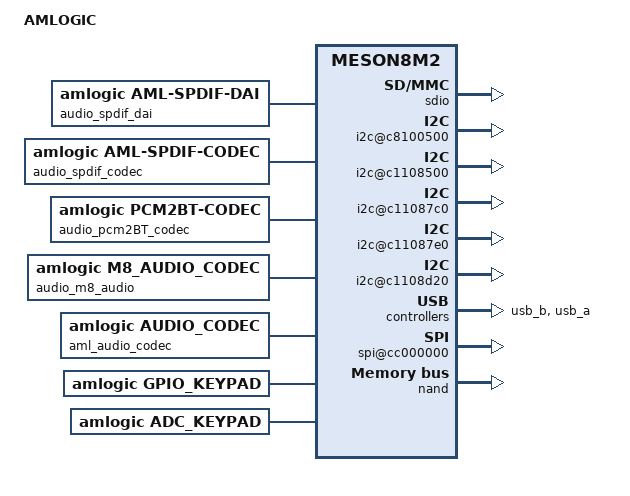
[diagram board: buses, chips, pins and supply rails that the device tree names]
/dts-v1/;
/{
	compatible = "AMLOGIC,8726_M8M2";
	model = "AMLOGIC";
	interrupt-parent = <&gic>;
	#address-cells = <1>;
	#size-cells = <1>;
	
    cpus {
        #address-cells = <1>;
        #size-cells = <0>;
        cpu@0 {
        	device_type = "cpu";
        	compatible = "arm,cortex-a9";
        	reg = <0x200>;
        };
        cpu@1 {
        	device_type = "cpu";
        	compatible = "arm,cortex-a9";
        	reg = <0x1>;
        };
        cpu@2 {
        	device_type = "cpu";
        	compatible = "arm,cortex-a9";
        	reg = <0x2>;
        };
        cpu@3 {
        	device_type = "cpu";
        	compatible = "arm,cortex-a9";
        	reg = <0x3>;
        };
    };

    cache-controller {
          compatible = "arm,meson-pl310-cache";
          reg = <0xc4200000 0x1000>;
          arm,data-latency = <3 3 3>;
          arm,tag-latency = <2 2 2>;
          arm,filter-ranges = <0x100000 0xc0000000>;
          cache-unified;
          cache-level = <2>;
          aux-instruction_prefetch;
          aux-data_prefetch;
          aux-ns_lockdown;
          aux-force_no_write_alloc;
          aux-cache_replace_policy_round_robin;
          aux-early_write_response;
          aux-full_line_of_zero;
          aux-ns_int_ctrl;
          aux-share_override;
          prefetch-double_line_fill;
          prefetch-prefetch_drop;
          prefetch-prefetch_offset = <7>;
    };

	memory{
		device_type = "memory";
		aml_reserved_start = <0x06000000>; /**reserved memory start */
		aml_reserved_end = <0x05000000>;/**reserved memory end : dtb start for uboot*/
		phys_offset = <0x00200000>;
		linux,total-memory = <0x7fe00000>;

        #address-cells = <1>;
        #size-cells = <1>;

        cma_0:region@0 {
           region_name = "cma_0";
           reg = <0 0x02a00000>;
           linux,contiguous-region;
        };
	};
	gic:interrupt-controller{
        compatible = "arm,cortex-a9-gic";
        reg = <0xc4301000 0x1000
               0xc4300100 0x0100>;
        interrupt-controller;
        #interrupt-cells = <3>;
        #address-cells = <0>;
    };
    
    vpu{
        compatible = "amlogic,vpu";
        dev_name = "vpu";	
        status = "ok";
        clk_level = <7>;
        /**    0: 106.25M    1: 127.50M    2: 159.375M
               3: 212.50M    4: 255.00M    5: 283.33M
               6: 318.75M    7: 425.00M    */
	};
	
	mesonfb{
		compatible = "amlogic,mesonfb";
		dev_name = "mesonfb";
		status = "okay";
	   	reserve-memory = <0x01000000  0x00100000>;
	   	reserve-iomap = "true";
        vmode = <3>; /**0:VMODE_720P 1:VMODE_LCD  2:VMODE_LVDS_1080P 3:VMODE_1080P*/
 		display_size_default = <1920 1080 1920 2160 32>;
	};

    deinterlace{
		compatible = "amlogic,deinterlace";
		dev_name = "deinterlace";
		status = "ok";
		reserve-memory = <0x02300000>; 	 

	};

	mesonstream{
		compatible = "amlogic,mesonstream";
		dev_name = "mesonstream.0";
		status = "okay";
		reserve-memory = <0x02000000>;
		reserve-iomap = "true";
	};

        vdec{
                compatible = "amlogic,vdec";
                dev_name = "vdec.0";
                status = "okay";
                reserve-memory = <0x10000000>;
                reserve-iomap = "true";
        };

    ppmgr{
		compatible = "amlogic,ppmgr";
		dev_name = "ppmgr";
		status = "okay";
		reserve-memory = <0x03000000>;
	};

    amvenc_avc{
		compatible = "amlogic,amvenc_avc";
		dev_name = "amvenc_avc.0";
		status = "okay";

        linux,contiguous-region = <&cma_0>;
	};

//    amvdec_656in{
//		compatible = "amlogic,amvdec_656in";
//		dev_name = "amvdec_656in";
//		status = "ok";
//		reg = <0x1a600000 0x00100000>;
//	};
//	
    vdin0{
        compatible = "amlogic,vdin";
        dev_name = "vdin0";
        status = "ok";
	 reserve-memory = <0x04000000>;
        irq = <115>;
        vdin_id = <0>;
	};
	
    vdin1{
        compatible = "amlogic,vdin";
        dev_name = "vdin1";
        status = "ok";
	 reserve-memory = <0x04000000>;
        irq = <117>;
        vdin_id = <1>;
	};

    amlvideo2{
		compatible = "amlogic,amlvideo2";
		dev_name = "amlvideo2.0";
		status = "okay";
		reserve-memory = <0x01800000>;
		reserve-iomap = "true";
	};

    vm{
		compatible = "amlogic,vm";
		dev_name = "vm.0";
		status = "okay";
        linux,contiguous-region = <&cma_0>;
	};

    ion_dev{
        compatible = "amlogic,ion_dev";
        dev_name = "ion_dev";
        status = "ok";
        share-memory-name = "ppmgr0";
        share-memory-offset = <0>;
        share-memory-size = <0x03000000>;
    };
	mesonvout{
		compatible = "amlogic,mesonvout";
		dev_name = "mesonvout";
		status = "okay";
	};

    rtc{
		compatible = "amlogic,aml_rtc";
		status = "okay";
	};

	uart_ao{
		compatible = "amlogic,aml_uart";
		port_name = "uart_ao";
		status = "okay";
		dev_name = "uart_ao";
		pinctrl-names = "default";
		pinctrl-0 = <&ao_uart_pins>;
	};
	
	uart_0{
		compatible = "amlogic,aml_uart";
		port_name = "uart_a";
		status = "okay";
		dev_name = "uart_0";
//    	pinctrl-names = "default";
//    	pinctrl-0 = <&a_uart_pins>;
	};
	
	uart_1{
		compatible = "amlogic,aml_uart";
		port_name = "uart_b";
		status = "disabled";
		dev_name = "uart_1";
	};
	
	uart_2{
		compatible = "amlogic,aml_uart";
		port_name = "uart_c";
		status = "disabled";
		dev_name = "uart_2";
	};
	
	uart_3{
		compatible = "amlogic,aml_uart";
		port_name = "uart_d";
		status = "ok";
		dev_name = "uart_3";
	};

    sdio{
        compatible = "amlogic,aml_sdio";
        dev_name = "aml_sdio.0";
        status = "okay";
        reg = <0xc1108c20 0x20>;
        pinctrl-names = "sd_clk_cmd_pins", "sd_all_pins", "emmc_clk_cmd_pins", "emmc_all_pins", "sdio_clk_cmd_pins", "sdio_all_pins","sd_1bit_pins"; // "jtag_pin", "uartao_default";
        pinctrl-0 = <&sd_clk_cmd_pins>;
        pinctrl-1 = <&sd_all_pins>;
        pinctrl-2 = <&emmc_clk_cmd_pins>;
        pinctrl-3 = <&emmc_all_pins>;
        pinctrl-4 = <&sdio_clk_cmd_pins>;
        pinctrl-5 = <&sdio_all_pins>;
        pinctrl-6 = <&sd_1bit_pins>;

        sd{
            status = "okay";
            port = <1>;          /**0:sdio_a, 1:sdio_b, 2:sdio_c, 3:sdhc_a, 4:sdhc_b, 5:sdhc_c */
            pinname = "sd";
            ocr_avail = <0x200000>;          /**VDD voltage 3.3 ~ 3.4 */
            caps = "MMC_CAP_4_BIT_DATA","MMC_CAP_MMC_HIGHSPEED","MMC_CAP_SD_HIGHSPEED";
            f_min = <300000>;
            f_max = <50000000>;
            f_max_w = <50000000>;
            max_req_size = <0x20000>;          /**128KB*/
            gpio_dat3 = "CARD_4";
            jtag_pin = "CARD_0";
            gpio_cd = "CARD_6";
            gpio_ro = "GPIOZ_0";
            irq_in = <3>;
            irq_out = <5>;
            card_type = <5>; /* 0:unknown, 1:mmc card(include eMMC), 2:sd card(include tSD), 3:sdio device(ie:sdio-wifi), 4:SD combo (IO+mem) card, 5:NON sdio device(means sd/mmc card), other:reserved */
        };

        emmc{
            status = "ok";
            port = <2>;          /**0:sdio_a, 1:sdio_b, 2:sdio_c, 3:sdhc_a, 4:sdhc_b, 5:sdhc_c */
            pinname = "emmc";
            ocr_avail = <0x200000>;          /**VDD voltage 3.3 ~ 3.4 */
            caps = "MMC_CAP_4_BIT_DATA","MMC_CAP_MMC_HIGHSPEED","MMC_CAP_SD_HIGHSPEED", "MMC_CAP_NONREMOVABLE"; // MMC_CAP_NEEDS_POLL -- for detect, MMC_CAP_NONREMOVABLE -- for eMMC/TSD
            f_min = <300000>;
            f_max = <50000000>;
            f_max_w = <50000000>;
            max_req_size = <0x20000>;          /**128KB*/
            gpio_dat3 = "BOOT_3";
            card_type = <1>; /* 0:unknown, 1:mmc card(include eMMC), 2:sd card(include tSD), 3:sdio device(ie:sdio-wifi), 4:SD combo (IO+mem) card, 5:NON sdio device(means sd/mmc card), other:reserved */
        };
    };

	i2c@c8100500{ /*I2C-AO*/
		compatible = "amlogic,aml_i2c";
		dev_name = "i2c-AO";
		status = "ok";
		reg = <0xc8100500 0x1d>;
		#address-cells = <1>;
		#size-cells = <0>;
		device_id = <0>;
		pinctrl-names="default";
		pinctrl-0=<&ao_i2c_master>;
		use_pio = <0>;
		master_i2c_speed = <100000>;
	};

    i2c@c1108500{ /*I2C-A*/
		compatible = "amlogic,aml_i2c";
		dev_name = "i2c-A";
		status = "ok";
		reg = <0xc1108500 0x20>;
		device_id = <1>;
		pinctrl-names="default";
		pinctrl-0=<&a_i2c_master>;
		#address-cells = <1>;
		#size-cells = <0>;
		use_pio = <0>;
		master_i2c_speed = <300000>;
	};
	
	i2c@c11087c0{ /*I2C-B*/
		compatible = "amlogic,aml_i2c";
		dev_name = "i2c-B";
		status = "ok";
		reg = <0xc11087c0 0x20>;
		device_id = <2>;
		pinctrl-names="default";
		pinctrl-0=<&b_i2c_master>;
		#address-cells = <1>;
		#size-cells = <0>;
		use_pio = <0>;
		master_i2c_speed = <300000>;
 	};

    i2c@c11087e0{ /*I2C-C*/
		compatible = "amlogic,aml_i2c";
		dev_name = "i2c-C";
		status = "ok";
		reg = <0xc11087e0 0x20>;
		device_id = <3>;
		pinctrl-names="default";
//		pinctrl-0=<&c_i2c_master>;
		#address-cells = <1>;
		#size-cells = <0>;
		use_pio = <0>;
		master_i2c_speed = <300000>;
	};

	i2c@c1108d20{ /*I2C-D*/
		compatible = "amlogic,aml_i2c";
		dev_name = "i2c-D";
		status = "ok";
		reg = <0xc1108d20 0x20>;
		device_id = <4>;
		pinctrl-names="default";
		pinctrl-0=<&d_i2c_master>;
		#address-cells = <1>;
		#size-cells = <0>;
		use_pio = <0>;
		master_i2c_speed = <300000>;
	};

    dvfs {
        compatible = "amlogic, amlogic-dvfs";                   /** fixed for driver, don't change       */
        #address-cells = <1>;
        #size-cells = <0>;
        status = "ok";

        vcck_dvfs {
            dvfs_id     = <1>;                                  /** must be value of (1 << n)            */
            table_count = <17>;                                 /** must be correct count for dvfs_table */
            change-frequent-only;
            dvfs_table  = <
            /* NOTE: frequent in this table must be ascending order */
            /* frequent(Khz)    min_uV      max_uV                  */
                  24000         825000      825000
                  96000         825000      825000
                 192000         825000      825000
                 312000         825000      825000
                 408000         825000      825000
                 504000         825000      825000
                 600000         850000      850000
                 720000         850000      850000
                 816000         875000      875000
                 912000         900000      900000
                1008000         925000      925000
                1104000         950000      950000
                1200000         975000      975000
                1320000        1000000     1000000
                1416000        1025000     1025000
                1512000        1050000     1050000
                1608000        1100000     1100000
            >;
        };
    };

    arm_pmu {
        compatible = "arm,cortex-a9-pmu";
        status = "ok";
        interrupts = <0     137     0x04
                      0     138     0x04
                      0     153     0x04
                      0     154     0x04>;
    };

    battery_parameter:battery_parameter{
        status = "okay";
        pmu_twi_id = <2>;                   /** PMU i2c bus                          */
        pmu_irq_id = <0>;                   /** INT_WATCHDOG                         */
        pmu_twi_addr = <0x32>;              /** PMU i2c addr                         */
        pmu_battery_rdc = <94>;             /** battery internal resistor            */
        pmu_battery_cap = <9250>;           /** battery capacity                     */
        pmu_battery_technology = <4>;       /** POWER_SUPPLY_TECHNOLOGY_LiFe         */
        pmu_battery_name = "PTI PL336078";  /** battery name                         */
        pmu_init_chgvol = <4200000>;        /** target charge voltage                */
        pmu_init_chgend_rate = <10>;        /** set initial charing end current rate */
        pmu_init_chg_enabled = <1>;         /** set initial charing enabled          */
        pmu_init_adc_freq = <25>;           /** set initial adc frequency            */
        pmu_init_adc_freqc = <100>;         /** set initial coulomb adc coufrequency */
        pmu_init_chg_pretime = <80>;        /** set initial pre-charging time        */
        pmu_init_chg_csttime = <300>;       /** set initial rapid-charging time      */
        pmu_init_chgcur = <300000>;         /** set initial charging current limite  */
        pmu_suspend_chgcur = <1300000>;     /** set suspend charging current limite  */
        pmu_resume_chgcur = <300000>;       /** set resume charging current limite   */
        pmu_shutdown_chgcur = <1300000>;    /** set shutdown charging current limite */
        pmu_usbcur_limit = <1>;             /** enable usb current limit?            */
        pmu_usbcur = <500>;                 /** usb limit current value if enabled   */
        pmu_usbvol_limit = <1>;             /** enable usb vbus voltage limit        */
        pmu_usbvol = <4400>;                /** voltage limit value if enabled       */
        pmu_pwroff_vol = <3200>;            /** hardware force power off voltage     */
        pmu_pwron_vol = <2900>;             /** power on when battery voltage above  */
        pmu_pekoff_time = <6000>;           /** long press to power off system       */
        pmu_pekoff_en  = <1>;               /** enable long press to PWR OFF system  */
        pmu_peklong_time = <1500>;          /** threshold to detect long press       */
        pmu_pwrok_time   = <64>;            /** delay to detect pwr ok signal        */
        pmu_pwrnoe_time = <2000>;           /**                                      */
        pmu_intotp_en = <1>;                /** over temperature protection enable   */
        pmu_pekon_time = <128>;             /** powerkey hold time for power on      */
        pmu_charge_efficiency = <99>;       /** efficient of charging                */
        pmu_bat_curve = <
         /* ocv, charge, discharge */
            3132      0       0
            3273      0       0
            3414      0       0
            3555      0       0  
            3625      1       3  
            3660      2       7  
            3696      7      14 
            3731     12      22 
            3766     18      37 
            3801     37      49 
            3836     51      57
            3872     57      63
            3942     69      73
            4012     80      82
            4083     89      90
            4153    100     100>;
	};

    pmu {
        compatible = "amlogic, aml_pmu_prober";                 /* fixed for pmu driver, don't change   */
        #address-cells = <1>;
        #size-cells = <0>;
        axp202 { /* PMU for AXP */
            compatible = "axp_mfd";                             /* for driver probe, must have          */
            sub_type = "axp20_mfd";                             /** sub type of pmu family, must have    */
            i2c_bus = "i2c_bus_ao";                             /** attached i2c bus, must have          */
            reg = <0x34>;                                       /** device i2c address, must have        */
            soft_limit_to99 = <0>;                              /** optional                             */
            ddr_voltage   = <1500000>;                          /** default voltage for DDR, optional    */
            vddao_voltage = <1200000>;                          /** default voltage for AO, optional     */
            board_battery = <&battery_parameter>;               /** battery parameter used, must have    */
            status = "disable";                                 /** status of pmu, only one should be OK */
        };
        aml1212{                                                /* PMU for AML1212, see comment above   */
            compatible = "aml_pmu";                             /* for driver probe, must have          */
            sub_type = "aml1212";                               /** sub type of pmu family, must have    */
            i2c_bus = "i2c_bus_ao";                             /** attached i2c bus, must have          */
            reg = <0x35>;                                       /** device i2c address, must have        */
            soft_limit_to99 = <0>;                              /** optional                             */
            ddr_voltage   = <1500000>;                          /** default voltage for DDR, optional    */
            vddao_voltage = <1200000>;                          /** default voltage for AO, optional     */
            board_battery = <&battery_parameter>;               /** battery parameter used, must have    */
            status = "disable";                                 /** status of pmu, only one should be OK */
        };
        rn5t618{                                                /* PMU for RN5T618, see comment above   */
            compatible = "ricoh_pmu";                           /* for driver probe, must have          */
            sub_type = "rn5t618";                               /** sub type of pmu family, must have    */
            i2c_bus = "i2c_bus_ao";                             /** attached i2c bus, must have          */
            reg = <0x32>;                                       /** device i2c address, must have        */
            soft_limit_to99 = <0>;                              /** optional                             */
            ddr_voltage   = <1500000>;                          /** default voltage for DDR, optional    */
            vddao_voltage = <1200000>;                          /** default voltage for AO, optional     */
            board_battery = <&battery_parameter>;               /** battery parameter used, must have    */
            vbus_dcin_short_connect = <1>;
            status = "disable";                                 /** status of pmu, only one should be OK */
        };
    };

    usb_con {
		lm-compatible = "logicmodule-bus";

		usb_b{
			lm-compatible = "amlogic,usb";
			lm-periph-id = <1>; /** lm name */
			clock-src = "usb1"; /** clock src */
			port-id = <1>; /** ref to mach/usb.h */
			port-type = <1>;	/** 0: otg, 1: host, 2: slave */
			port-speed = <0>; /** 0: default, 1: high, 2: full */
			port-config = <0>; /** 0: default */
			port-dma = <0>; /** 0: default, 1: single, 2: incr, 3: incr4, 4: incr8, 5: incr16, 6: disable*/
			port-id-mode = <1>; /** 0: hardware, 1: sw_host, 2: sw_slave*/
			status = "okay";
		};
		
		usb_a{
			lm-compatible = "amlogic,usb";
			lm-periph-id = <0>; /** lm name */
			clock-src = "usb0"; /** clock src */
			port-id = <0>;  /** ref to mach/usb.h */
			port-type = <0>;	/** 0: otg, 1: host, 2: slave */
			port-speed = <0>; /** 0: default, high, 1: full */
			port-config = <0>; /** 0: default */
			port-dma = <0>; /** 0: default, 1: single, 2: incr, 3: incr4, 4: incr8, 5: incr16, 6: disable*/
			port-id-mode = <0>; /** 0: hardware, 1: sw_host, 2: sw_slave*/
			gpio-vbus-power = "GPIOZ_1";
			gpio-work-mask	= <1>; /**0: work on pulldown,1:work on pullup*/
			status = "okay";
		};
	};




    audio_platform{
        compatible = "amlogic,aml-i2s";
        dev_name = "aml-i2s.0";
        status = "okay";
    };

    audio_dai{
        compatible = "amlogic,aml-i2s-dai";
        dev_name = "aml-i2s-dai.0";
        status = "okay";
    };
    audio_spdif_dai{
        compatible = "amlogic,aml-spdif-dai";
        dev_name = "aml-spdif-dai.0";
        status = "okay";
    };

    audio_spdif_codec{
        compatible = "amlogic,aml-spdif-codec";
        dev_name = "spdif-dit.0";
        status = "okay";
    };

    audio_pcm2BT_codec{
        compatible = "amlogic,pcm2BT-codec";
        dev_name = "pcm2bt.0";
        status = "okay";
    };

    audio_pcm_dai{
        compatible = "amlogic,aml-pcm-dai";
        dev_name = "aml-pcm-dai.0";
        status = "okay";
    };

    audio_pcm{
        compatible = "amlogic,aml-pcm";
        dev_name = "aml-pcm.0";
        status = "okay";
    };

    audio_m8_audio{
        compatible = "amlogic,m8_audio_codec";
        dev_name = "aml_m8_codec.0";
        status = "okay";
    };

    aml_audio_codec{
        compatible = "amlogic,audio_codec";
        rt5616:rt5616{
            codec_name = "rt5616";
            i2c_addr = <0x1B>;
            i2c_bus = "i2c_bus_d";
            id_reg = <0x00>;
            id_val = <0x21>;
            capless = <0>;
            status = "okay";
        };
        rt5631:rt5631{
            codec_name = "rt5631";
            i2c_addr = <0x1A>;
            i2c_bus = "i2c_bus_b";
            id_reg = <0x00>;
            id_val = <0x01>;
            capless = <0>;
            status = "disable";      
        };  
        wm8960:wm8960{
            codec_name = "wm8960";
            i2c_addr = <0x1A>;
            i2c_bus = "i2c_bus_b";
            capless = <1>;
	    status = "disable";
        };
    };

    aml_m8_sound_card{
        compatible = "sound_card, aml_snd_m8";
        aml,sound_card = "AML-M8AUDIO";
        aml,codec_dai = "AML-M8","rt5616-aif1","rt5631-hifi","wm8960-hifi";
        //aml,codec_name = "aml_m8_codec.0","rt5616.4-001b";
        //aml,audio-codec = <&rt5616>;
        aml,audio-routing-rt5616 = 
            "Ext Spk","LOUTL",
            "Ext Spk","LOUTR",
            "HP","HPOL",
            "HP","HPOR",
            "micbias1","MAIN MIC",
            "IN2P","micbias1";
        aml,audio-routing-amlm8 = 
            "Ext Spk","LINEOUTL",
            "Ext Spk","LINEOUTR",
            "HP","HP_L",
            "HP","HP_R",
            "MICBIAS","MAIN MIC",
            "LINPUT1","MICBIAS";
        mute_gpio = "GPIO_BSD_EN";
        //mute_inv;
        hp_paraments = <800 300 0 5 1>;
        pinctrl-names = "aml_snd_m8";
        pinctrl-0 = <&audio_pins>;
        status = "okay";
        
    };

	aml_cams{
		compatible = "amlogic,cams_prober";
		status = "disabled";
		pinctrl-names = "gpio","csi";
		pinctrl-0 = <&aml_cam_gpio_pins> ;
		pinctrl-1 = <&aml_cam_csi_pins> ;

		cam_0{
			cam_name = "ar0543";
			front_back = <0>;
			i2c_bus = "i2c_bus_d";
			gpio_pwdn = "GPIOH_6";
			gpio_rst = "GPIOH_4";
			mirror_flip = <0>;
			vertical_flip = <0>;
			config_path = "/system/etc/camera_isp_cfg/ar0543_skt";
			mclk = <12000>;
			bt_path = "csi";
			interface = "mipi";
			clk_channel = "a";
			status = "okay";
		};

		cam_1{
			cam_name = "ov5647";
			front_back = <0>;
			i2c_bus = "i2c_bus_d";
			gpio_pwdn = "GPIOH_5";
			gpio_rst = "GPIOH_4";
			mirror_flip = <0>;
			vertical_flip = <0>;	
			config_path = "/system/etc/camera_isp_cfg/ov5647_cw0767";
			bt_path = "csi";
			interface = "mipi";
			clk_channel = "b";
			status = "okay";
		};
		
		cam_2{
			cam_name = "ar0833";
			front_back = <0>;
			i2c_bus = "i2c_bus_d";
			gpio_pwdn = "GPIOH_6";
			gpio_rst = "GPIOH_4";
			mirror_flip = <0>;
			vertical_flip = <0>;
			config_path = "/system/etc/camera_isp_cfg/ar0833_skt";
			mclk = <12000>;
			bt_path = "csi";
			interface = "mipi";
			clk_channel = "a";
			status = "okay";
		};
	};	

    gpio_keypad{
		compatible = "amlogic,gpio_keypad";
		status = "okay";
		scan_period = <20>;
		key_num = <1>;
        key_name = "power";
		key_code = <116>;
		key_pin = "GPIOAO_3";
        irq_keyup = <6>;
        irq_keydown = <7>;
	};
	saradc{
		compatible = "amlogic,saradc";
		status = "okay";
	};

    adc_keypad{
		compatible = "amlogic,adc_keypad";
		status = "okay";
		key_name = "menu", "vol-","vol+", "esc", "home";
		key_num = <5>;
		key_code = <139 114 115 1 102>;
		key_chan = <0 0 0 0 0>;
		key_val = <0 143 271 393 468>; //voltage=0/252/478/692/824mV, val=voltage/1800mV*1023
		key_tolerance = <40 40 40 40 40>;
	};

    meson-remote{
		compatible = "amlogic,aml_remote";
		dev_name = "meson-remote";
		status = "ok";
		ao_baseaddr = <0xf3100480>;
		pinctrl-names="default";
		pinctrl-0=<&remote_pins>;
	};

    spi@cc000000{
		compatible = "amlogic,apollo_spi_nor";
		status = "ok";
		reg = <0xcc000000 0x04000000>;
		pinctrl-names = "default";
		pinctrl-0 = <&aml_spi_nor_pins>;

		nr-parts = <2>;
		nr-part-0 = <&bootloader>;
		nr-part-1 = <&ubootenv>;

		bootloader:bootloader{
			name = "bootloader";
			offset = <0>;
			size = <0x60000>;
		};

		ubootenv:ubootenv{
			name = "ubootenv";
		      offset = <0x100000>;
		      size = <0x10000>;
		};
	};
	
	nand{
		compatible = "amlogic,aml_nand";
		dev_name = "nand";
		status = "ok";
		reg = <0xd0048600 0x24>;
		pinctrl-names = "nand_rb_mod","nand_norb_mod";
		pinctrl-0 = <&nand_input_state &conf_nand_state &conf_nand_state1 &nand_base>;
		pinctrl-1 = <&nand_input_state &conf_nand_state &conf_nand_state1 &nand_base>;
		device_id = <0>;
		plat-names = "nandnormal";
		plat-num = <1>;
		plat-part-0 = <&normal>;

		normal: normal{
			enable_pad ="ce0","ce1","ce2","ce3";
			busy_pad = "rb0";
		};
	};

    efuse{
		compatible = "amlogic,efuse";
		dev_name = "efuse";
		status = "okay";
		plat-pos = <0 454>;
		plat-count = <58>;
		usid-min = <8>; /*reserved*/
		usid-max = <31>; /*reserved*/
	};
	
	thermal{
		compatible = "amlogic-thermal";
		#thermal-cells=<7>;
		dev_name = "aml_thermal";
        trip_point=<70 1608001 1608001 511 511 3 5 
                    80 1200001 1200001 435 435 2 4
                    90  800001 800001  328 328 2 3
                    260 0xffffffff 0xffffffff 0xffffffff 0xffffffff 0xffffffff 0xffffffff>;
		cpu_cali_a=<0>;
		idle_interval=<1000>;
        use_virtual_thermal;
        freq_sample_period=<30>;
        report_time=<1 10 30 60>;         /* based on freq_sample_period */
        cpu_virtual=<
             500000  40  40  40  40
             600000  45  55  60  65
             800000  50  60  65  70
            1000000  55  65  70  75
            1200000  60  70  75  80
            1400000  65  75  80  85
        >;
        gpu_virtual=<
            183      40  40  40  40
            251      40  45  50  55
            319      50  60  65  70
            426      55  65  70  75
            511      60  70  75  80
        >;
	};
	
    securitykey{
		compatible = "amlogic,aml_keys";
		status = "ok";
	};

    	unifykey{
		compatible = "amlogic,unifykey";
		status = "ok";

		/*efuse-version = <0>;*/ /*m6 efuse version 2,m3 efuse version 1, not config efuse version in default*/
		unifykey-num = <3>;
		unifykey-index-0 = <&keysn_0>;
		unifykey-index-1 = <&keysn_1>;
		unifykey-index-2 = <&keysn_2>;


		keysn_0: key_0{
			key-name = "key0";
			key-device = "nandkey";
			key-dataformat = "hexdata";
			key-permit = "read","write","del";
		};
		
		keysn_1:key_1{
			key-name = "key1";
			key-device = "nandkey";
			key-dataformat = "hexdata";
			key-permit = "read","write","del";
		};
		
		keysn_2:key_2{
			key-name = "key2";
			key-device = "nandkey";
			key-dataformat = "hexdata";
			key-permit = "read","write","del";
		};
	};

    amhdmitx{
		compatible = "amlogic,amhdmitx";
		dev_name = "amhdmitx";
		status = "ok";
        vend-data = <&vend_data>;
        pwr-ctrl = <&pwr_ctrl>;
        
        vend_data: vend_data{
            vendor_name = "Amlogic";           /* Max Chars: 8     */
            vendor_id = <0x000000>;                 /* Refer to http://standards.ieee.org/develop/regauth/oui/oui.txt   */
            product_desc = "M8 MBox SKTv1";        /* Max Chars: 16    */
            cec_osd_string = "Amlogic MBox";        /* Max Chars: 14    */
        };
        
        pwr_ctrl: pwr_ctrl{
            pwr_5v_on = "";
            pwr_5v_off = "";
            pwr_3v3_on = "";
            pwr_3v3_off = "";
            pwr_hpll_vdd_on = "";
            pwr_hpll_vdd_off = "";
        };
	};

    aml_pm{
		compatible = "amlogic,pm-m8";
		dev_name = "aml_pm_m8";
		status = "okay";
	};

    cpufreq-meson{
        compatible = "amlogic,cpufreq-meson";
        status = "okay";
    };

//    crypto_device{
//       compatible = "amlogic,crypto-device";
//       dev_name = "crypto_device";
//    };

	gpio:gpio{
		compatible = "amlogic,m8-gpio";
		dev_name = "gpio";
		#gpio-cells=<2>;
	};

    pinmux{ 
		compatible = "amlogic,pinmux-m8";
		dev_name = "pinmux";
		#pinmux-cells=<2>;    
    
        ao_uart_pins:ao_uart{
			amlogic,setmask=<10 0x1800>;
			amlogic,pins="GPIOAO_0", "GPIOAO_1";
		};
		
		nand_input_state:nand_input{
			amlogic,pins = "BOOT_0","BOOT_1","BOOT_2","BOOT_3","BOOT_4",
						"BOOT_5","BOOT_6","BOOT_7","BOOT_12","BOOT_13",
						"BOOT_8","BOOT_9","BOOT_10","BOOT_11",
						"BOOT_14","BOOT_15","BOOT_16","BOOT_17";
			amlogic,enable-output=<1>;
		};
		
		conf_nand_state: conf_nand{
			amlogic,pins = "BOOT_0","BOOT_1","BOOT_2","BOOT_3","BOOT_4",
						"BOOT_5","BOOT_6","BOOT_7","BOOT_15";
			amlogic,pullup=<0>;
	    		amlogic,pullupen=<1>;
		};
		conf_nand_state1: conf_nand1{
			amlogic,pins = "BOOT_8", "BOOT_10";
			amlogic,pullup=<1>;
			amlogic,pullupen=<1>;
		};
		nand_base: nand{
			amlogic,setmask=<2 0x7fe0000>;
			amlogic,clrmask=<	5 0xe
							6 0x3f000000
							4 0x7c000000>;
			amlogic,pins = "BOOT_0","BOOT_1","BOOT_2","BOOT_3","BOOT_4",
						"BOOT_5","BOOT_6","BOOT_7","BOOT_8","BOOT_9",
						"BOOT_10","BOOT_12","BOOT_13",
						"BOOT_14","BOOT_15","BOOT_16","BOOT_17";
		};
		
		sdhc_b_pins:sdhc_b_pin{
			amlogic,setmask=<2 0xfc00>;
			amlogic,clrmask=<2 0xf0 8 0x600>;
			amlogic,pins="CARD_0","CARD_1","CARD_2","CARD_3","CARD_4","CARD_5";
		};

		sdhc_c_pins:sdhc_c_pin{
			amlogic,setmask=<6 0x3f000000>;
			amlogic,clrmask=<4 0x6c000000 2 0x4c00000>;
			amlogic,pins="BOOT_0","BOOT_1","BOOT_2","BOOT_3","BOOT_10","BOOT_11";
		};

		sdhc_a_pins:sdhc_a_pin{
			amlogic,setmask=<8 0x3f>;
			amlogic,clrmask=<5 0x6c00 >;
			amlogic,pins="GPIOX_0","GPIOX_1","GPIOX_2","GPIOX_3","GPIOX_8","GPIOX_9";
		};

        sdio_all_pins:sdio_all_pins{
            amlogic,setmask=<8 0x0000003f>;         /*sdio a*/
            amlogic,clrmask=<6 0x3f000000           /*sdio c*/
                                2 0x0000fc00        /*sdio b*/
                                5 0x00006c00>;      /*sdhc a*/
            amlogic,pins = "GPIOX_0","GPIOX_1","GPIOX_2","GPIOX_3","GPIOX_8","GPIOX_9";
            amlogic,enable-output=<1>; /** 0:output, 1:input */
            amlogic,pullup=<1>;
            amlogic,pullupen=<1>;
        };
        
        sdio_clk_cmd_pins:sdio_clk_cmd_pins{
            amlogic,setmask=<8 0x00000003>;         /*sdio a*/
            amlogic,clrmask=<6 0x3f000000           /*sdio c*/
                                2 0x0000fc00        /*sdio b*/
                                5 0x00006c00>;      /*sdhc a*/
            amlogic,pins = "GPIOX_8","GPIOX_9"; /** GPIOX_8:CLK, GPIOX_9:CMD */
            amlogic,enable-output=<1>; /** 0:output, 1:input */
            amlogic,pullup=<1>;
            amlogic,pullupen=<1>;
        };

        sd_all_pins:sd_all_pins{
            amlogic,setmask=<2 0x0000fc00>;         /*sdio b*/
            amlogic,clrmask=<6 0x3f000000           /*sdio c*/
                                8 0x0000063f        /*sdio a, UART*/
                                2 0x000000f0>;      /*sdhc b*/
            amlogic,pins = "CARD_0","CARD_1","CARD_2","CARD_3","CARD_4","CARD_5";
            amlogic,enable-output=<1>; /* 0:output, 1:input */
            amlogic,pullup=<1>;
            amlogic,pullupen=<1>;
        };
        
        sd_1bit_pins:sd_1bit_pins{
            amlogic,setmask=<2 0x00008c00>;         /*sdio b*/
            amlogic,clrmask=<6 0x3f000000           /*sdio c*/
                                8 0x0000003f        /*sdio a*/
                                2 0x000000f0>;      /*sdhc b*/
            amlogic,pins = "CARD_0","CARD_1","CARD_2","CARD_3","CARD_4","CARD_5";
            amlogic,enable-output=<1>; /* 0:output, 1:input */
            amlogic,pullup=<1>;
            amlogic,pullupen=<1>;
        };
        
        sd_clk_cmd_pins:sd_clk_cmd_pins{
            amlogic,setmask=<2 0x00000c00>;         /*sdio b*/
            amlogic,clrmask=<6 0x3f000000           /*sdio c*/
                                8 0x0000003f        /*sdio a*/
                                2 0x000000f0>;      /*sdhc b*/
            amlogic,pins = "CARD_2","CARD_3"; /** CARD_2:CLK, CARD_3:CMD */
            amlogic,enable-output=<1>; /** 0:output, 1:input */
            amlogic,pullup=<1>;
            amlogic,pullupen=<1>;
        };
        
        emmc_all_pins:emmc_all_pins{
            amlogic,setmask=<6 0x3f000000>;         /*sdio c*/
            amlogic,clrmask=<2 0x04c0fc00           /*sdio b & nand*/
                                8 0x0000003f        /*sdio a*/
                                4 0x6c000000>;        /*sdhc c*/
            amlogic,pins = "BOOT_0","BOOT_1","BOOT_2","BOOT_3","BOOT_16","BOOT_17";
            amlogic,enable-output=<1>; /** 0:output, 1:input */
            amlogic,pullup=<1>;
            amlogic,pullupen=<1>;
        };
        
        emmc_clk_cmd_pins:emmc_clk_cmd_pins{
            amlogic,setmask=<6 0x03000000>;         /*bit[24-25] */
            amlogic,clrmask=<2 0x04c0fc00           /*sdio b & nand*/
                                8 0x0000003f        /*sdio a*/
                                4 0x6c000000>;        /*sdhc c*/
            amlogic,pins = "BOOT_16","BOOT_17"; /** BOOT_16:CMD, BOOT_17:CLK */
            amlogic,enable-output=<1>; /** 0:output, 1:input */
            amlogic,pullup=<1>;
            amlogic,pullupen=<1>;
        };

        aml_cam_gpio_pins: aml_cam_gpio_pins{
			amlogic,setmask=<3 0x80000
					         9 0x37c>;
			amlogic,pins = "GPIOH_9","GPIOY_6","GPIOY_7","GPIOY_8","GPIOY_9","GPIOY_10","GPIOY_11","GPIOY_12","GPIOY_13","GPIOY_14";
		};
		
		aml_cam_csi_pins: aml_cam_csi_pins{
			amlogic,setmask=<3 0x80000>;
			amlogic,pins = "GPIOH_9";
		};

		ao_i2c_master:ao_i2c{
			amlogic,setmask=<10 0x60>;
			amlogic,clrmask=<10 0x1800006>;
			amlogic,pins="GPIOAO_4","GPIOAO_5";
		};
		
		a_i2c_master:a_i2c{
//			amlogic,setmask=<5 0xc0000000>;
//			amlogic,clrmask=<9 0x58000 7 3000000>;
//			amlogic,pins="GPIOZ_0","GPIOZ_1";

//			amlogic,setmask=<5 0x300>;
//			amlogic,clrmask=<6 0x900 8 11000>;
//			amlogic,pins="GPIOZ_9","GPIOZ_10";

			amlogic,setmask=<5 0xc0>;
			amlogic,clrmask=<6 0xc0 8 0xc000>;
			amlogic,pins="GPIOZ_11","GPIOZ_12";
		};
		
		b_i2c_master:b_i2c{
			amlogic,setmask=<5 0xc000000>;
			amlogic,pins="GPIOZ_2","GPIOZ_3";
		};

// MATCH "I2C_C_pin_match" = "&c_i2c_master"
// L2 PROP_U32 2 = "amlogic,setmask"
// L2 PROP_U32 2 = "amlogic,clrmask"
// L2 PROP_STR 2 = "amlogic,pins"	
//		c_i2c_master:c_i2c{
//			amlogic,setmask=<5 0x3000000>;
//			amlogic,clrmask=<6 0xc000>;
//			amlogic,pins="GPIOZ_4","GPIOZ_5";

//			amlogic,setmask=<1 0xc000>;
//			amlogic,clrmask=<1 0xc0400 3 0x6 9 0x300>;
//			amlogic,pins="GPIOY_0","GPIOY_1";
//		};

		d_i2c_master:d_i2c{
			amlogic,setmask=<4 0xc>;
			amlogic,pins="GPIOH_7","GPIOH_8";
		};

        remote_pins:remote_pin{
			amlogic,setmask=<10 0x1>;
			amlogic,pins="GPIOAO_7";
		};

        audio_pins:audio_pin{
            amlogic,setmask=<1 0x80
                             1 0x75>;
            amlogic,clrmask=<1 0x10000
                             1 0x0a
                             3 0x389
                             4 0x3c00000
                             9 0xd>;
            amlogic,pins = "GPIOY_3","GPIOY_4","GPIOY_5","GPIOY_6","GPIOY_7","GPIOY_8";
        };

		aml_spi_nor_pins: aml_spi_nor_pins{
			amlogic,setmask=<5 0xf>;
			amlogic,clrmask=<2 0x380000>;
			amlogic,pins = "BOOT_11","BOOT_12","BOOT_13","BOOT_18";
		};
	};

}; /* end of / */
